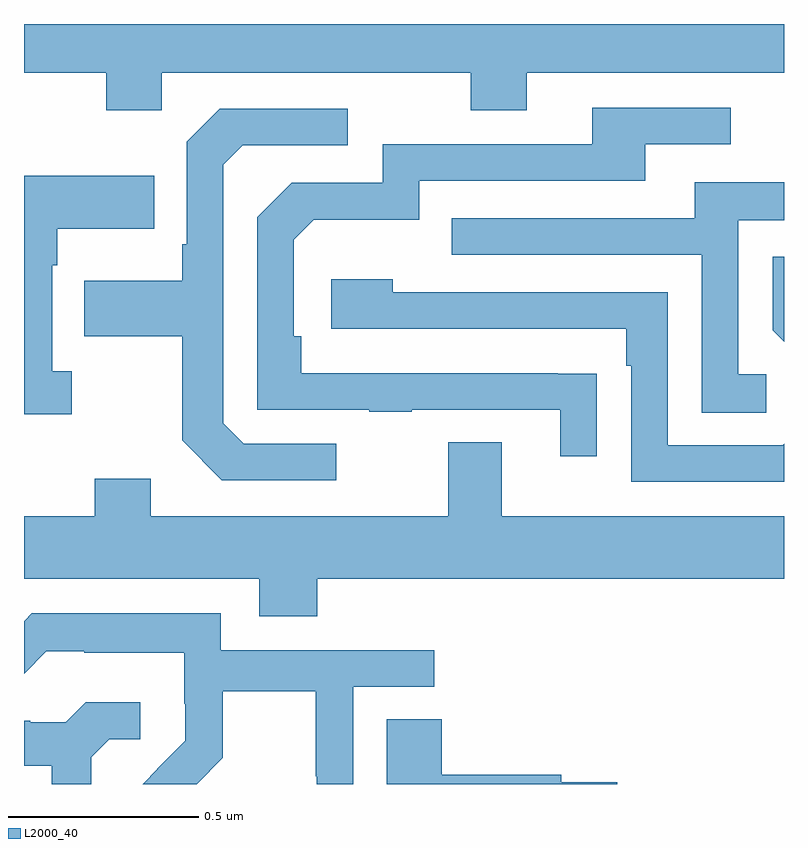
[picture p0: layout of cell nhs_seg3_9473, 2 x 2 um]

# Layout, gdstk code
import gdstk
lib = gdstk.Library(unit=1e-6, precision=1e-09)
def P(c, l, *ps):  # polygons
    for p in ps: c.add(gdstk.Polygon(p, *l))
L2000_40 = (2000, 40)

nhs_seg3_9473 = lib.new_cell('nhs_seg3_9473')
P(nhs_seg3_9473, L2000_40, [(229.362,678.272),(230.176,678.272),(230.176,678.173),(230.323,678.173),(230.323,678.272),(231,678.272),(231,678.4),(229,678.4),(229,678.272),(229.216,678.272),(229.216,678.173),(229.362,678.173)],
  [(230.507,677.48),(230.405,677.48),(230.405,677.481),(229.73,677.481),(229.73,677.578),(229.71,677.578),(229.71,677.832),(229.763,677.885),(230.04,677.885),(230.04,677.988),(230.635,677.988),(230.635,678.084),(230.86,678.084),(230.86,678.18),(230.495,678.18),(230.495,678.084),(229.944,678.084),(229.944,677.982),(229.704,677.982),(229.614,677.892),(229.614,677.385),(229.909,677.385),(229.909,677.38),(230.021,677.38),(230.021,677.385),(230.411,677.385),(230.411,677.262),(230.507,677.262)],
  [(229.822,677.295),(229.578,677.295),(229.524,677.349),(229.524,678.03),(229.575,678.081),(229.852,678.081),(229.852,678.177),(229.515,678.177),(229.428,678.09),(229.428,677.821),(229.416,677.821),(229.416,677.725),(229.159,677.725),(229.159,677.578),(229.416,677.578),(229.416,677.305),(229.521,677.199),(229.822,677.199)],
  [(229.126,677.486),(229.074,677.486),(229.074,677.765),(229.087,677.765),(229.087,677.861),(229.343,677.861),(229.343,678.001),(229,678.001),(229,677.373),(229.126,677.373)],
  [(230.953,677.478),(230.88,677.478),(230.88,677.883),(231,677.883),(231,677.983),(230.765,677.983),(230.765,677.889),(230.125,677.889),(230.125,677.793),(230.784,677.793),(230.784,677.377),(230.953,677.377)],
  [(231,677.788),(230.97,677.788),(230.97,677.594),(231,677.564)],
  [(231,677.295),(230.997,677.292),(230.694,677.292),(230.694,677.694),(229.97,677.694),(229.97,677.728),(229.809,677.728),(229.809,677.598),(230.585,677.598),(230.585,677.501),(230.598,677.501),(230.598,677.196),(231,677.196)],
  [(229.772,676.94),(231,676.94),(231,677.104),(230.257,677.104),(230.257,677.299),(230.117,677.299),(230.117,677.104),(229.333,677.104),(229.333,677.203),(229.186,677.203),(229.186,677.104),(229,677.104),(229,676.94),(229.619,676.94),(229.619,676.841),(229.772,676.841)],
  [(229.523,676.469),(229.523,676.644),(229.768,676.644),(229.768,676.42),(229.77,676.42),(229.77,676.4),(229.866,676.4),(229.866,676.656),(230.08,676.656),(230.08,676.752),(229.518,676.752),(229.518,676.849),(229.021,676.849),(229,676.828),(229,676.69),(229.059,676.749),(229.159,676.749),(229.159,676.745),(229.422,676.745),(229.422,676.611),(229.424,676.611),(229.424,676.514),(229.35,676.44),(229.351,676.439),(229.312,676.4),(229.454,676.4)],
  [(229.177,676.471),(229.224,676.518),(229.306,676.518),(229.306,676.615),(229.162,676.615),(229.11,676.563),(229.016,676.563),(229.016,676.566),(229,676.566),(229,676.448),(229.073,676.448),(229.073,676.4),(229.177,676.4)],
  [(230.561,676.404),(230.414,676.404),(230.414,676.424),(230.099,676.424),(230.099,676.571),(229.955,676.571),(229.955,676.4),(230.561,676.4)])

lib.write_gds('nhs_seg3_9473.gds')
